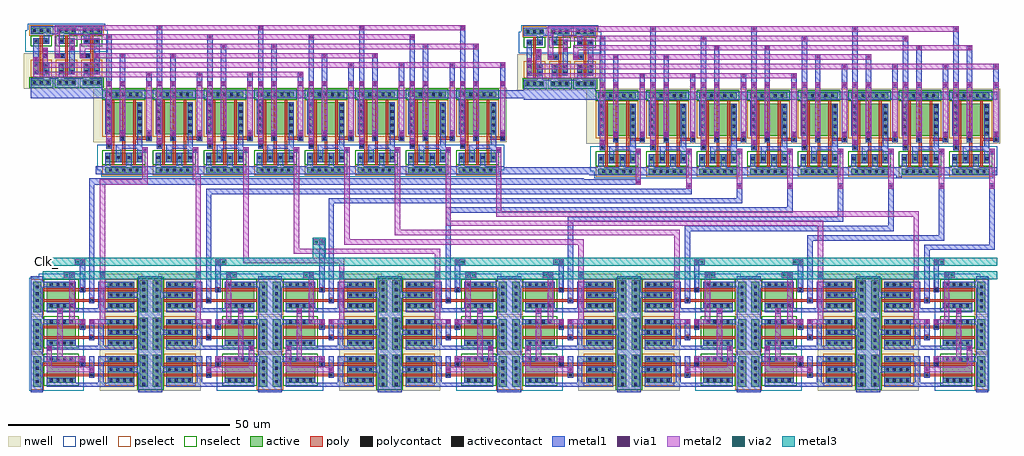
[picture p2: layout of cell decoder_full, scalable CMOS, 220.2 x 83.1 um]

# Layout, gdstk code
from math import pi, radians
import gdstk
lib = gdstk.Library(unit=1e-6, precision=1e-09)
def R(c, l, rs):  # rectangles x0, y0, x1, y1
    for r in rs: c.add(gdstk.rectangle(r[:2], r[2:], *l))
def A(c, l, x, y, w, h, nx, ny, dx, dy):  # array of equal rectangles
    R(c, l, [(x+i*dx, y+j*dy, x+i*dx+w, y+j*dy+h) for i in range(nx) for j in range(ny)])
pwell = (41, 0)
nwell = (42, 0)
active = (43, 0)
pselect = (44, 0)
nselect = (45, 0)
poly = (46, 0)
polycontact = (47, 0)
activecontact = (48, 0)
metal1 = (49, 0)
via1 = (50, 0)
metal2 = (51, 0)
via2 = (61, 0)
metal3 = (62, 0)

inv = lib.new_cell('inv')
R(inv, pwell, [(-1.2,-8.4,4.8,-6.9), (-1.8,-6.9,5.4,-2.1)])
R(inv, nwell, [(-1.8,-1.8,5.7,6.3)])
R(inv, active, [(-0.3,-7.5,3.9,-6.3), (0,-5.1,3.6,-3.9), (0,0.3,3.6,3), (-0.3,4.2,3.9,5.4)])
R(inv, pselect, [(-0.9,-8.1,4.5,-5.7), (-0.6,-0.3,4.2,3.6)])
R(inv, nselect, [(-0.6,-5.7,4.2,-3.3), (-0.9,3.6,4.5,6)])
R(inv, poly, [(1.5,-5.7,2.1,-1.8), (0.3,-1.8,2.1,-0.6), (1.5,-0.6,2.1,3.6)])
R(inv, polycontact, [(0.6,-1.5,1.2,-0.9)])
A(inv, activecontact, 0, -7.2, 0.6, 0.6, 3, 2, 1.5, 11.7)
R(inv, activecontact, [(0.3,-4.8,0.9,-4.2), (2.7,-4.8,3.3,-4.2), (0.3,0.6,0.9,1.2), (2.7,0.6,3.3,1.2), (0.3,2.1,0.9,2.7), (2.7,2.1,3.3,2.7)])
R(inv, metal1, [(-0.6,-7.8,4.2,-6), (0,-6,1.2,-3.9), (2.4,-5.1,3.6,3), (0.3,-1.8,1.5,-0.6), (0,0.3,1.2,3.9), (-0.6,3.9,4.2,5.7)])
inv.add(gdstk.Label('Gnd', (1.8,-7.8), layer=49, texttype=0))
inv.add(gdstk.Label('Vdd', (1.8,5.7), layer=49, texttype=0))
inv.add(gdstk.Label('A', (0.9,-1.5), layer=49, texttype=0))

c_3nor = lib.new_cell('3nor')
R(c_3nor, pwell, [(-0.9,-9.6,9.3,-8.1), (-1.8,-8.1,10.2,-2.4)])
R(c_3nor, nwell, [(-2.7,-1.8,10.8,10.5)])
R(c_3nor, active, [(0,-8.7,8.4,-7.5), (0,-6.3,8.4,-4.2), (0,0,8.4,7.2), (0,8.4,8.4,9.6)])
R(c_3nor, pselect, [(-0.6,-9.3,9,-6.9), (-0.6,-0.6,9,7.8)])
R(c_3nor, nselect, [(-0.6,-6.9,9,-3.6), (-0.6,7.8,9,10.2)])
R(c_3nor, poly, [(1.5,-6.9,2.1,-3.3), (3.9,-6.9,4.5,-1.5), (6.3,-6.9,6.9,-1.2), (0.3,-3.3,2.1,-2.1), (1.5,-2.1,2.1,7.8), (3.3,-1.5,4.5,-0.3), (9.3,-1.5,10.5,-1.2), (6.3,-1.2,10.5,-0.6), (6.3,-0.6,6.9,7.8), (9.3,-0.6,10.5,-0.3), (3.9,-0.3,4.5,7.8)])
R(c_3nor, polycontact, [(0.6,-3,1.2,-2.4), (3.6,-1.2,4.2,-0.6), (9.6,-1.2,10.2,-0.6)])
A(c_3nor, activecontact, 0.9, -8.4, 0.6, 0.6, 5, 2, 1.5, 17.1)
A(c_3nor, activecontact, 0.3, -5.55, 0.6, 0.6, 4, 1, 2.4, 0)
A(c_3nor, activecontact, 0.3, 0.3, 0.6, 0.6, 1, 5, 0, 1.5)
A(c_3nor, activecontact, 7.5, 0.3, 0.6, 0.6, 1, 5, 0, 1.5)
R(c_3nor, metal1, [(-2.1,-9,10.2,-7.2), (0,-7.2,1.2,-4.2), (4.8,-7.2,6,-4.2), (2.4,-6.3,3.6,-3.3), (7.2,-6.3,8.4,-3.3), (0.3,-3.3,1.5,-0.9), (2.4,-3.3,8.4,-2.4), (7.2,-2.4,8.4,7.2), (3.3,-1.5,4.5,0.9), (9.3,-1.5,10.5,0.9), (0,0,1.2,8.1), (-2.1,8.1,10.2,9.9)])
R(c_3nor, via1, [(0.6,-1.8,1.2,-1.2), (3.6,0,4.2,0.6), (9.6,0,10.2,0.6)])
R(c_3nor, metal2, [(0.3,-2.1,1.5,-0.9), (3.3,-0.3,4.5,0.9), (9.3,-0.3,10.5,0.9)])
c_3nor.add(gdstk.Label('OUT', (7.8,-2.1), layer=49, texttype=0))
c_3nor.add(gdstk.Label('VDD', (4.2,9.9), layer=49, texttype=0))
c_3nor.add(gdstk.Label('GND', (4.2,-9), layer=49, texttype=0))
c_3nor.add(gdstk.Label('B', (3.9,-0.9), layer=49, texttype=0))
c_3nor.add(gdstk.Label('C', (9.9,-0.9), layer=49, texttype=0))
c_3nor.add(gdstk.Label('A', (0.9,-2.7), layer=49, texttype=0))

decoder = lib.new_cell('decoder')
A(decoder, pwell, 12, -0.6, 1.2, 1.5, 7, 1, 11.4, 0)
R(decoder, nwell, [(-10.2,24,-9,25.2)])
A(decoder, metal1, 11.1, 4.8, 1.2, 1.2, 8, 1, 11.4, 0)
A(decoder, metal1, 3, 19.8, 1.2, 11.7, 4, 1, 22.8, 0)
A(decoder, metal1, 12, 19.8, 1.2, 3.3, 4, 1, 11.4, 0)
A(decoder, metal1, 14.4, 19.8, 1.2, 13.8, 4, 1, 22.8, 0)
A(decoder, metal1, 57.6, 19.8, 1.2, 5.4, 4, 1, 11.4, 0)
R(decoder, metal1, [(-14.1,17.1,2.1,21.6), (6,19.8,7.2,27.3), (17.4,19.8,18.6,27.3), (28.8,19.8,30,29.4), (40.2,19.8,41.4,29.4), (51.6,19.8,52.8,27.3), (63,19.8,64.2,27.3), (74.4,19.8,75.6,29.4), (85.8,19.8,87,29.4), (-13.5,25.2,-12.3,26.4), (-8.7,26.1,-7.5,27.3), (-3,26.1,-1.8,27.3), (0.3,26.1,1.5,27.3), (-11.4,27.3,-10.2,28.5), (-5.4,27.9,-4.2,29.1), (-14.1,31.5,2.1,33.3)])
A(decoder, via1, 11.4, 5.1, 0.6, 0.6, 8, 1, 11.4, 0)
A(decoder, via1, 12.3, 22.2, 0.6, 0.6, 4, 1, 11.4, 0)
A(decoder, via1, 57.9, 24.3, 0.6, 0.6, 4, 1, 11.4, 0)
A(decoder, via1, 3.3, 30.6, 0.6, 0.6, 4, 1, 22.8, 0)
A(decoder, via1, 14.7, 32.7, 0.6, 0.6, 4, 1, 22.8, 0)
R(decoder, via1, [(3.3,20.1,3.9,20.7), (6.3,20.1,6.9,20.7), (12.3,20.1,12.9,20.7), (14.7,20.1,15.3,20.7), (17.7,20.1,18.3,20.7), (23.7,20.1,24.3,20.7), (26.1,20.1,26.7,20.7), (29.1,20.1,29.7,20.7), (35.1,20.1,35.7,20.7), (37.5,20.1,38.1,20.7), (40.5,20.1,41.1,20.7), (46.5,20.1,47.1,20.7), (48.9,20.1,49.5,20.7), (51.9,20.1,52.5,20.7), (57.9,20.1,58.5,20.7), (60.3,20.1,60.9,20.7), (63.3,20.1,63.9,20.7), (69.3,20.1,69.9,20.7), (71.7,20.1,72.3,20.7), (74.7,20.1,75.3,20.7), (80.7,20.1,81.3,20.7), (83.1,20.1,83.7,20.7), (86.1,20.1,86.7,20.7), (92.1,20.1,92.7,20.7), (-13.2,25.5,-12.6,26.1), (-8.4,26.4,-7.8,27), (-2.7,26.4,-2.1,27), (0.6,26.4,1.2,27), (6.3,26.4,6.9,27), (17.7,26.4,18.3,27), (51.9,26.4,52.5,27), (63.3,26.4,63.9,27), (-11.1,27.6,-10.5,28.2), (-5.1,28.2,-4.5,28.8), (29.1,28.5,29.7,29.1), (40.5,28.5,41.1,29.1), (74.7,28.5,75.3,29.1), (86.1,28.5,86.7,29.1)])
A(decoder, metal2, 11.1, 0, 1.2, 6, 8, 1, 11.4, 0)
A(decoder, metal2, 14.4, 8.1, 1.2, 12.9, 7, 1, 11.4, 0)
R(decoder, metal2, [(3,6.9,4.2,21), (6,9.9,7.2,21), (12,9.9,13.2,21), (17.4,9.9,18.6,21), (23.4,9.9,24.6,21), (28.8,9.9,30,21), (34.8,9.9,36,21), (40.2,9.9,41.4,21), (46.2,9.9,47.4,21), (51.6,9.9,52.8,21), (57.6,9.9,58.8,21), (63,9.9,64.2,21), (69,9.9,70.2,21), (74.4,9.9,75.6,21), (80.4,9.9,81.6,21), (85.8,9.9,87,21), (91.8,9.9,93,21), (-13.5,21.9,47.4,23.1), (-13.5,23.1,-12.3,26.4), (-11.4,24,93,25.2), (-11.4,25.2,-10.2,28.5), (-8.7,26.1,-7.5,32.4), (-3,26.1,-1.8,28.2), (0.3,26.1,64.2,27.3), (-5.4,27.9,-4.2,30.3), (-3,28.2,87,29.4), (-5.4,30.3,72.6,31.5), (-8.7,32.4,84,33.6)])
decoder.add(gdstk.Reference(inv, (-9.9,25.5), rotation=pi))
decoder.add(gdstk.Reference(inv, (-7.8,25.5), x_reflection=True))
decoder.add(gdstk.Reference(inv, (-2.1,25.5), x_reflection=True))
decoder.add(gdstk.Reference(c_3nor, (2.7,9)))
decoder.add(gdstk.Reference(c_3nor, (14.1,9)))
decoder.add(gdstk.Reference(c_3nor, (25.5,9)))
decoder.add(gdstk.Reference(c_3nor, (36.9,9)))
decoder.add(gdstk.Reference(c_3nor, (48.3,9)))
decoder.add(gdstk.Reference(c_3nor, (59.7,9)))
decoder.add(gdstk.Reference(c_3nor, (71.1,9)))
decoder.add(gdstk.Reference(c_3nor, (82.5,9)))
decoder.add(gdstk.Label('i1', (-2.4,28.8), layer=51, texttype=0))
decoder.add(gdstk.Label('i0', (-8.1,27.9), layer=51, texttype=0))
decoder.add(gdstk.Label('d7', (11.7,4.2), layer=51, texttype=0))
decoder.add(gdstk.Label('d6', (23.1,4.2), layer=51, texttype=0))
decoder.add(gdstk.Label('d5', (34.5,4.2), layer=51, texttype=0))
decoder.add(gdstk.Label('d4', (45.9,4.2), layer=51, texttype=0))
decoder.add(gdstk.Label('d3', (57.3,4.2), layer=51, texttype=0))
decoder.add(gdstk.Label('d2', (68.7,4.2), layer=51, texttype=0))
decoder.add(gdstk.Label('d1', (80.1,4.2), layer=51, texttype=0))
decoder.add(gdstk.Label('d0', (91.5,4.2), layer=51, texttype=0))
decoder.add(gdstk.Label('VDD', (-3,18.3), layer=49, texttype=0))
decoder.add(gdstk.Label('GND', (-9.3,32.4), layer=49, texttype=0))
decoder.add(gdstk.Label('i2', (-10.8,26.7), layer=51, texttype=0))

nand = lib.new_cell('nand')
R(nand, pwell, [(-6.6,-18.9,2.1,-16.8), (-7.5,-16.8,2.1,-6.6)])
R(nand, nwell, [(-7.5,-3,2.1,6.6), (-6.9,6.6,2.1,8.7)])
R(nand, active, [(-5.7,-18,1.2,-16.2), (-5.7,-15,0.3,-8.4), (-5.7,-1.2,0.3,4.8), (-6,6,1.2,7.8)])
R(nand, pselect, [(-6.3,-18.6,1.8,-15.6), (-6.3,-1.8,0.9,5.4)])
R(nand, nselect, [(-6.3,-15.6,0.9,-7.8), (-6.6,5.4,1.8,8.4)])
R(nand, poly, [(-4.2,-15.6,-3.6,-7.5), (-1.8,-15.6,-1.2,-5.4), (-4.5,-7.5,-3.3,-6.3), (-4.2,-6.3,-3.6,5.4), (-2.1,-5.4,-0.9,-4.2), (-1.8,-4.2,-1.2,5.4)])
R(nand, polycontact, [(-4.2,-7.2,-3.6,-6.6), (-1.8,-5.1,-1.2,-4.5)])
A(nand, activecontact, -4.8, -17.4, 0.6, 0.6, 4, 1, 1.5, 0)
A(nand, activecontact, -5.4, -14.25, 0.6, 0.6, 1, 4, 0, 1.5)
A(nand, activecontact, -0.6, -14.25, 0.6, 0.6, 1, 4, 0, 1.5)
A(nand, activecontact, -5.4, -0.75, 0.6, 0.6, 3, 4, 2.4, 1.5)
A(nand, activecontact, -5.7, 6.6, 0.6, 0.6, 5, 1, 1.5, 0)
R(nand, metal1, [(-6.9,-18.3,2.4,-15.9), (-5.7,-15.9,-4.5,-8.4), (-0.9,-15,1.2,-8.4), (0.3,-8.4,1.2,-3.3), (-5.7,-7.5,-3.3,-6.3), (-5.7,-5.4,-0.9,-4.2), (-5.7,-3.3,1.2,-2.1), (-5.7,-2.1,-4.5,4.8), (0.3,-2.1,1.2,-1.2), (-3.3,-1.2,-2.1,5.7), (-0.9,-1.2,1.2,4.8), (-6.9,5.7,2.4,8.1)])
nand.add(gdstk.Label('OUT', (0.6,-4.8), layer=49, texttype=0))
nand.add(gdstk.Label('A', (-5.1,-6.9), layer=49, texttype=0))
nand.add(gdstk.Label('B', (-5.1,-4.8), layer=49, texttype=0))

andor = lib.new_cell('andor')
R(andor, metal1, [(0,1.5,26.1,1.8), (8.4,2.7,9,3.3), (15.6,5.1,16.8,6.3), (7.2,7.5,8.4,8.7), (-0.9,10.2,0.3,11.4), (-0.9,12.6,2.4,13.8), (9.6,12.6,10.8,13.8), (18,12.6,19.2,13.8), (-0.9,14.7,1.2,15.9), (9.6,14.7,10.8,15.9), (20.4,14.7,21.6,15.9), (24,14.7,24.9,16.5), (-0.9,17.1,0.3,18.3), (8.4,26.7,9,27.3), (0,28.2,26.1,28.5)])
R(andor, via1, [(15.9,5.4,16.5,6), (7.5,7.8,8.1,8.4), (-0.6,10.5,0,11.1), (9.9,12.9,10.5,13.5), (18.3,12.9,18.9,13.5), (9.9,15,10.5,15.6), (20.7,15,21.3,15.6), (-0.6,17.4,0,18)])
R(andor, metal2, [(15.6,5.1,21.6,6.3), (20.4,6.3,21.6,15.9), (7.2,7.5,19.2,8.7), (18,8.7,19.2,13.8), (-0.9,10.2,10.8,11.4), (9.6,11.4,10.8,13.8), (9.6,14.7,10.8,17.1), (-0.9,17.1,10.8,18.3)])
andor.add(gdstk.Reference(nand, (6.9,20.1)))
andor.add(gdstk.Reference(nand, (15.3,20.1)))
andor.add(gdstk.Reference(nand, (23.7,20.1)))
andor.add(gdstk.Label('D', (-0.3,17.7), layer=51, texttype=0))
andor.add(gdstk.Label('Clk', (-0.3,10.8), layer=51, texttype=0))
andor.add(gdstk.Label('A', (-0.3,15.3), layer=49, texttype=0))
andor.add(gdstk.Label('Clk_', (-0.3,13.2), layer=49, texttype=0))
andor.add(gdstk.Label('VDD', (8.7,27), layer=49, texttype=0))
andor.add(gdstk.Label('GND', (8.7,3), layer=49, texttype=0))
andor.add(gdstk.Label('En', (24.3,15.9), layer=49, texttype=0))

decoder_full = lib.new_cell('decoder_full')
R(decoder_full, metal1, [(148.2,-13.5,149.4,-2.4), (11.7,-13.2,12.9,-8.7), (42.3,-13.2,43.5,-8.7), (65.7,-13.2,66.9,-4.2), (96.3,-13.2,97.5,-8.7), (119.7,-13.2,120.9,-8.7), (150.3,-13.2,151.5,-8.7), (173.7,-13.2,174.9,-8.7), (13.8,-12.6,15,8.1), (94.2,-12.6,95.4,1.8), (121.8,-12.6,123,-0.3), (202.2,-12.6,203.4,-6.6), (175.8,-12.3,177,-4.5), (40.2,-11.7,41.4,6), (67.8,-11.7,69,3.9), (204.3,-11.7,205.5,-8.7), (202.2,-6.6,218.1,-5.4), (216.9,-5.4,218.1,8.4), (175.8,-4.5,206.7,-3.3), (205.5,-3.3,206.7,8.4), (148.2,-2.4,195.3,-1.2), (194.1,-1.2,195.3,8.4), (121.8,-0.3,183.9,0.9), (182.7,0.9,183.9,8.4), (94.2,1.8,172.5,3), (171.3,3,172.5,8.4), (67.8,3.9,161.1,5.1), (159.9,5.1,161.1,8.4), (40.2,6,149.7,7.2), (148.5,7.2,149.7,8.4), (13.8,8.1,138.3,9.3), (13.8,9.3,125.4,9.6), (195.9,9.6,197.1,10.8), (107.4,10.5,127.2,12), (107.4,27.6,127.2,29.1), (107.4,29.1,113.4,29.4)])
A(decoder_full, via1, 148.8, 7.5, 0.6, 0.6, 7, 1, 11.4, 0)
R(decoder_full, via1, [(12,-9.6,12.6,-9), (42.6,-9.6,43.2,-9), (96.6,-9.6,97.2,-9), (120,-9.6,120.6,-9), (150.6,-9.6,151.2,-9), (174,-9.6,174.6,-9), (204.6,-9.6,205.2,-9), (66,-5.1,66.6,-4.5), (137.4,8.4,138,9)])
R(decoder_full, metal2, [(16.2,-13.2,17.4,8.1), (8.1,-12.9,9.3,-11.7), (37.8,-12.9,39,9.3), (45.9,-12.9,47.1,-11.7), (62.1,-12.9,63.3,-11.7), (70.2,-12.9,71.4,-9.6), (91.8,-12.9,93,-7.5), (99.9,-12.9,101.1,-11.7), (116.1,-12.9,117.3,-11.7), (124.2,-12.9,125.4,-5.4), (145.8,-12.9,147,-3.3), (153.9,-12.9,155.1,-11.7), (170.1,-12.9,171.3,-11.7), (178.2,-12.9,179.4,-1.2), (199.8,-12.9,201,0.9), (207.9,-12.9,209.1,-11.7), (10.5,-9.9,12.9,-8.7), (42.3,-9.9,44.7,-8.7), (96.3,-9.9,98.7,-8.7), (118.5,-9.9,120.9,-8.7), (150.3,-9.9,152.7,-8.7), (172.5,-9.9,174.9,-8.7), (204.3,-9.9,206.7,-8.7), (48.6,-9.6,71.4,-8.4), (48.6,-8.4,49.8,11.4), (60,-7.5,93,-6.3), (60,-6.3,61.2,11.7), (64.5,-5.4,66.9,-4.2), (71.4,-5.4,125.4,-4.2), (71.4,-4.2,72.6,12), (82.8,-3.3,147,-2.1), (82.8,-2.1,84,11.7), (94.2,-1.2,179.4,0), (94.2,0,95.4,11.4), (105.6,0.9,201,2.1), (105.6,2.1,106.8,11.7), (148.5,7.2,149.7,11.1), (159.9,7.2,161.1,10.2), (171.3,7.2,172.5,11.1), (182.7,7.2,183.9,10.5), (194.1,7.2,195.3,10.5), (205.5,7.2,206.7,10.2), (216.9,7.2,218.1,10.5), (16.2,8.1,27,9.3), (137.1,8.1,138.3,11.1), (25.8,9.3,27,11.4), (37.2,9.3,39,10.5), (37.2,10.5,38.4,11.4)])
R(decoder_full, via2, [(8.4,-12.6,9,-12), (46.2,-12.6,46.8,-12), (62.4,-12.6,63,-12), (100.2,-12.6,100.8,-12), (116.4,-12.6,117,-12), (154.2,-12.6,154.8,-12), (170.4,-12.6,171,-12), (208.2,-12.6,208.8,-12), (10.8,-9.6,11.4,-9), (43.8,-9.6,44.4,-9), (97.8,-9.6,98.4,-9), (118.8,-9.6,119.4,-9), (151.8,-9.6,152.4,-9), (172.8,-9.6,173.4,-9), (205.8,-9.6,206.4,-9), (64.8,-5.1,65.4,-4.5)])
R(decoder_full, metal3, [(3.3,-13.2,218.7,-11.4), (3.3,-10.2,218.7,-8.4), (64.2,-8.4,67.2,-3.9)])
decoder_full.add(gdstk.Reference(decoder, (14.7,10.5)))
decoder_full.add(gdstk.Reference(decoder, (126,10.2)))
decoder_full.add(gdstk.Reference(andor, (-0.9,-12.6), rotation=3*pi/2))
decoder_full.add(gdstk.Reference(andor, (56.1,-12.6), rotation=3*pi/2, x_reflection=True))
decoder_full.add(gdstk.Reference(andor, (53.1,-12.6), rotation=3*pi/2))
decoder_full.add(gdstk.Reference(andor, (110.1,-12.6), rotation=3*pi/2, x_reflection=True))
decoder_full.add(gdstk.Reference(andor, (107.1,-12.6), rotation=3*pi/2))
decoder_full.add(gdstk.Reference(andor, (164.1,-12.6), rotation=3*pi/2, x_reflection=True))
decoder_full.add(gdstk.Reference(andor, (161.1,-12.6), rotation=3*pi/2))
decoder_full.add(gdstk.Reference(andor, (218.1,-12.6), rotation=3*pi/2, x_reflection=True))
decoder_full.add(gdstk.Label('Clk_', (4.2,-9.3), layer=62, texttype=0))
decoder_full.add(gdstk.Label('Clk', (4.2,-12.3), layer=62, texttype=0))

lib.write_gds('decoder_full.gds')
